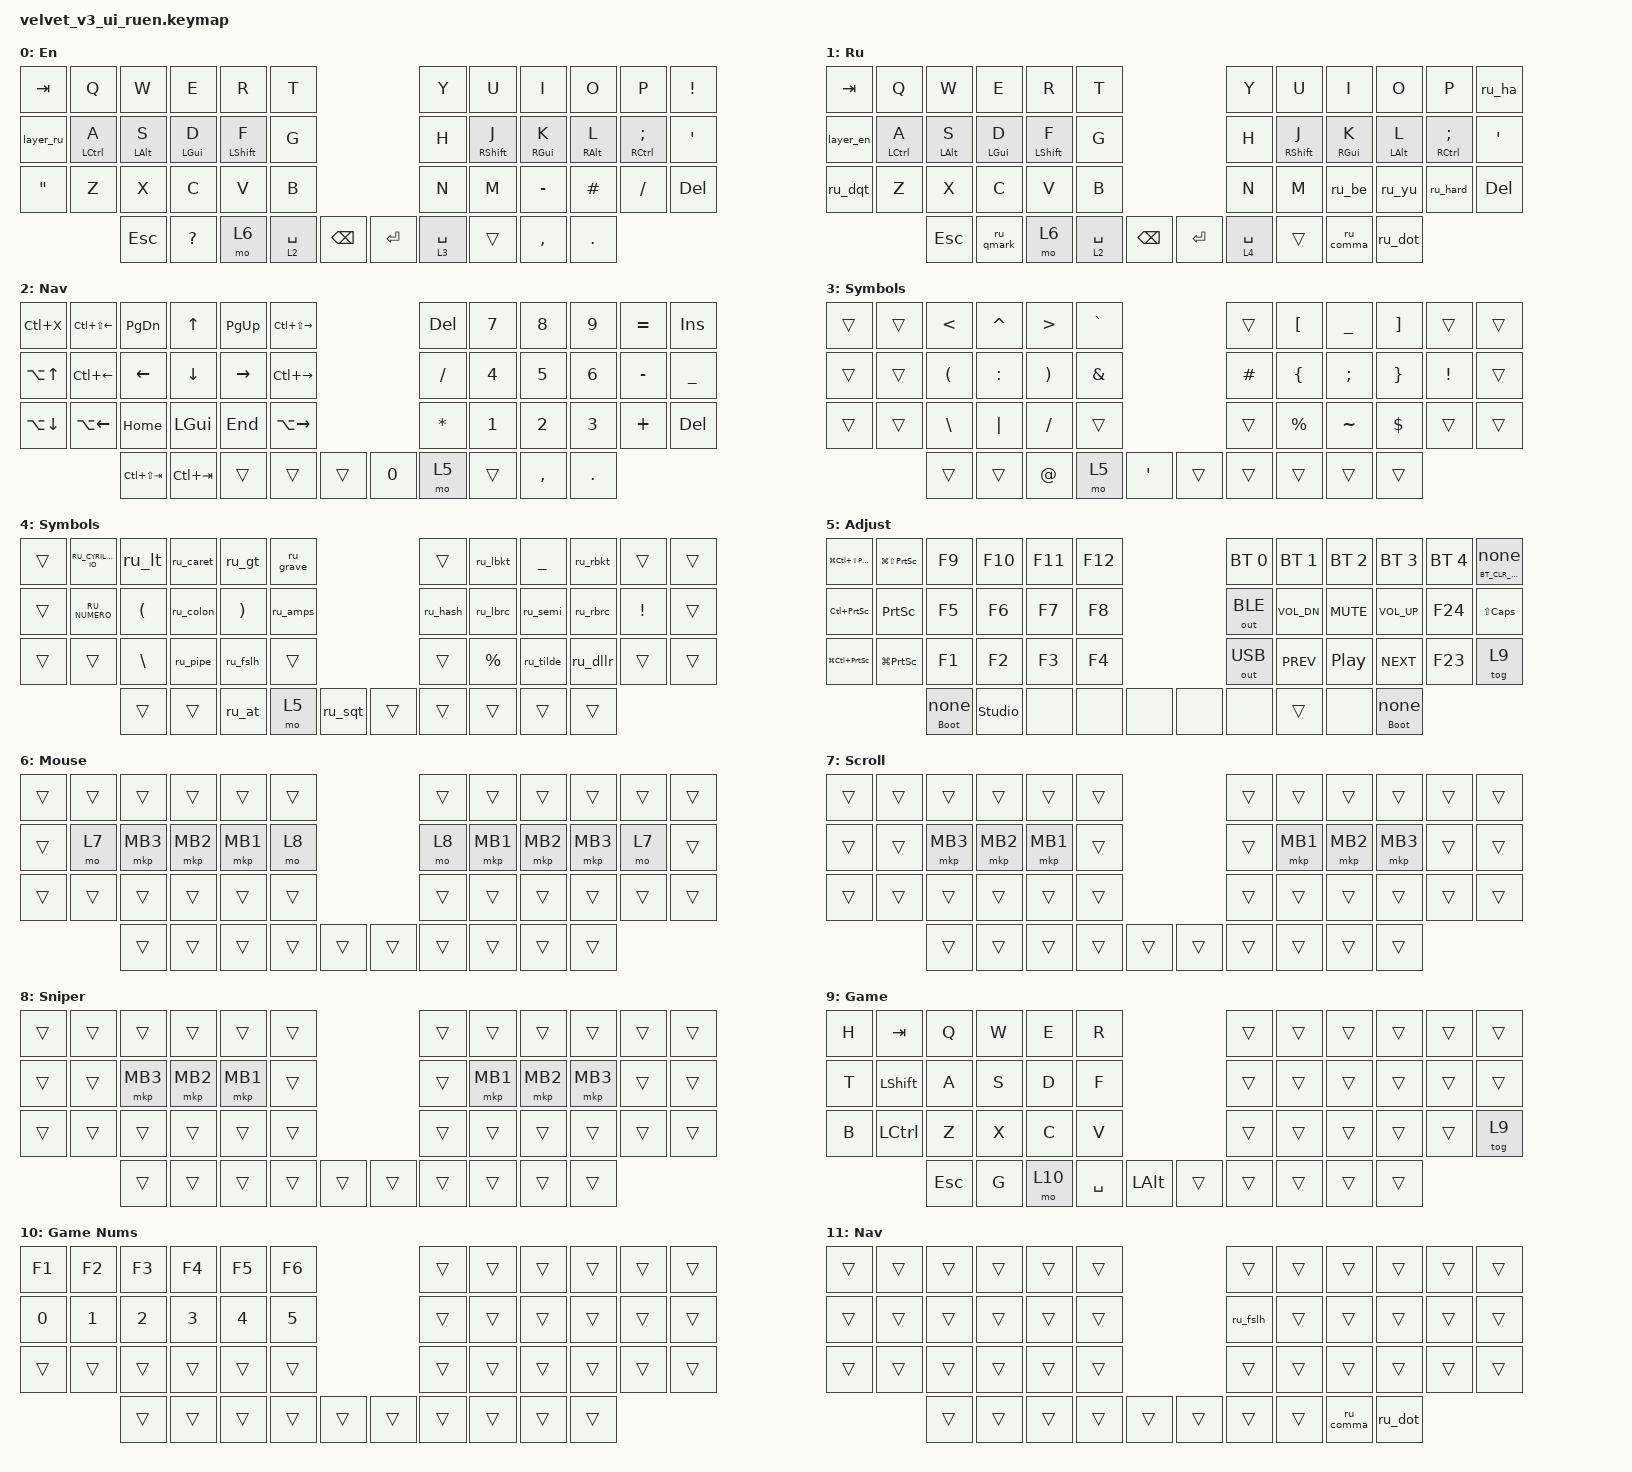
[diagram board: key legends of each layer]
#include "keys_ru.h"
#include <dt-bindings/zmk/input_transform.h>
#include <input/processors.dtsi>
#include <scroll-snap.dtsi>
#include <zephyr/dt-bindings/input/input-event-codes.h>
#include <behaviors.dtsi>
#include <dt-bindings/zmk/bt.h>
#include <dt-bindings/zmk/keys.h>
#include <dt-bindings/zmk/outputs.h>
#include <dt-bindings/zmk/pointing.h>

/ {
    behaviors {




        // Home-row mods: non-positional balanced. A mod becomes a hold as
        // soon as any other key is pressed and released while it is held,
        // so one-hand hotkeys (Super+S, Ctrl+C) work instantly. A plain
        // roll (first key released first) stays a tap; a misfire is only
        // possible on a nested roll. Positional HRM was tried and dropped:
        // same-hand hotkeys needed the mod held past tapping-term.
        hrm: hrm {
            compatible = "zmk,behavior-hold-tap";
            bindings = <&kp>, <&kp>;

            #binding-cells = <2>;
            tapping-term-ms = <200>;
            quick-tap-ms = <175>;
            flavor = "balanced";
        };

        // Must be held for a second: protects destructive keys on adj.
        hold_bt: hold_bt {
            compatible = "zmk,behavior-hold-tap";
            bindings = <&bt>, <&none>;

            #binding-cells = <2>;
            tapping-term-ms = <1000>;
            flavor = "tap-preferred";
        };

        hold_boot: hold_boot {
            compatible = "zmk,behavior-hold-tap";
            bindings = <&bootloader>, <&none>;

            #binding-cells = <2>;
            tapping-term-ms = <1000>;
            flavor = "tap-preferred";
        };

        // Space layer-taps. No quick-tap-ms: with it, pressing the same space
        // key again soon after tapping it is forced to a tap, so "type a
        // space, then hold it for nav" sent space + base-layer letters.
        mok: mok {
            compatible = "zmk,behavior-hold-tap";
            bindings = <&mo>, <&kp>;

            #binding-cells = <2>;
            tapping-term-ms = <200>;
            flavor = "balanced";
            require-prior-idle-ms = <0>;
        };

        // sym_ru symbols: plain tap types the symbol in the RU OS layout, but
        // with Ctrl/Alt/GUI held send the same keycode as sym_en so hotkeys match.
        ru_fslh: ru_fslh {
            compatible = "zmk,behavior-mod-morph";
            bindings = <&kp RU_FSLH>, <&kp FSLH>;

            #binding-cells = <0>;
            mods = <(MOD_LCTL|MOD_LALT|MOD_LGUI|MOD_RCTL|MOD_RALT|MOD_RGUI)>;
            keep-mods = <(MOD_LCTL|MOD_LALT|MOD_LGUI|MOD_RCTL|MOD_RALT|MOD_RGUI)>;
        };

        ru_colon: ru_colon {
            compatible = "zmk,behavior-mod-morph";
            bindings = <&kp RU_COLON>, <&kp COLON>;

            #binding-cells = <0>;
            mods = <(MOD_LCTL|MOD_LALT|MOD_LGUI|MOD_RCTL|MOD_RALT|MOD_RGUI)>;
            keep-mods = <(MOD_LCTL|MOD_LALT|MOD_LGUI|MOD_RCTL|MOD_RALT|MOD_RGUI)>;
        };

        ru_semi: ru_semi {
            compatible = "zmk,behavior-mod-morph";
            bindings = <&kp RU_SEMI>, <&kp SEMI>;

            #binding-cells = <0>;
            mods = <(MOD_LCTL|MOD_LALT|MOD_LGUI|MOD_RCTL|MOD_RALT|MOD_RGUI)>;
            keep-mods = <(MOD_LCTL|MOD_LALT|MOD_LGUI|MOD_RCTL|MOD_RALT|MOD_RGUI)>;
        };

        // Symbols missing from the plain RU layout. The OS uses ru(typo)
        // (Hyprland kb_variant ",typo"), which has them on AltGr (right Alt):
        // a plain tap sends RA(key) / RA(LS(key)). With Ctrl/Alt/GUI held the
        // same keycode as sym_en is sent instead, so hotkeys match (Hyprland
        // matches binds on the first, us, layout).
        ru_lt: ru_lt {
            compatible = "zmk,behavior-mod-morph";
            bindings = <&kp RA(N9)>, <&kp LT>;

            #binding-cells = <0>;
            mods = <(MOD_LCTL|MOD_LALT|MOD_LGUI|MOD_RCTL|MOD_RALT|MOD_RGUI)>;
            keep-mods = <(MOD_LCTL|MOD_LALT|MOD_LGUI|MOD_RCTL|MOD_RALT|MOD_RGUI)>;
        };

        ru_gt: ru_gt {
            compatible = "zmk,behavior-mod-morph";
            bindings = <&kp RA(N0)>, <&kp GT>;

            #binding-cells = <0>;
            mods = <(MOD_LCTL|MOD_LALT|MOD_LGUI|MOD_RCTL|MOD_RALT|MOD_RGUI)>;
            keep-mods = <(MOD_LCTL|MOD_LALT|MOD_LGUI|MOD_RCTL|MOD_RALT|MOD_RGUI)>;
        };

        ru_caret: ru_caret {
            compatible = "zmk,behavior-mod-morph";
            bindings = <&kp RA(N6)>, <&kp CARET>;

            #binding-cells = <0>;
            mods = <(MOD_LCTL|MOD_LALT|MOD_LGUI|MOD_RCTL|MOD_RALT|MOD_RGUI)>;
            keep-mods = <(MOD_LCTL|MOD_LALT|MOD_LGUI|MOD_RCTL|MOD_RALT|MOD_RGUI)>;
        };

        ru_grave: ru_grave {
            compatible = "zmk,behavior-mod-morph";
            bindings = <&kp RA(GRAVE)>, <&kp GRAVE>;

            #binding-cells = <0>;
            mods = <(MOD_LCTL|MOD_LALT|MOD_LGUI|MOD_RCTL|MOD_RALT|MOD_RGUI)>;
            keep-mods = <(MOD_LCTL|MOD_LALT|MOD_LGUI|MOD_RCTL|MOD_RALT|MOD_RGUI)>;
        };

        ru_tilde: ru_tilde {
            compatible = "zmk,behavior-mod-morph";
            bindings = <&kp RA(LS(GRAVE))>, <&kp TILDE>;

            #binding-cells = <0>;
            mods = <(MOD_LCTL|MOD_LALT|MOD_LGUI|MOD_RCTL|MOD_RALT|MOD_RGUI)>;
            keep-mods = <(MOD_LCTL|MOD_LALT|MOD_LGUI|MOD_RCTL|MOD_RALT|MOD_RGUI)>;
        };

        ru_lbkt: ru_lbkt {
            compatible = "zmk,behavior-mod-morph";
            bindings = <&kp RA(LBKT)>, <&kp LBKT>;

            #binding-cells = <0>;
            mods = <(MOD_LCTL|MOD_LALT|MOD_LGUI|MOD_RCTL|MOD_RALT|MOD_RGUI)>;
            keep-mods = <(MOD_LCTL|MOD_LALT|MOD_LGUI|MOD_RCTL|MOD_RALT|MOD_RGUI)>;
        };

        ru_rbkt: ru_rbkt {
            compatible = "zmk,behavior-mod-morph";
            bindings = <&kp RA(RBKT)>, <&kp RBKT>;

            #binding-cells = <0>;
            mods = <(MOD_LCTL|MOD_LALT|MOD_LGUI|MOD_RCTL|MOD_RALT|MOD_RGUI)>;
            keep-mods = <(MOD_LCTL|MOD_LALT|MOD_LGUI|MOD_RCTL|MOD_RALT|MOD_RGUI)>;
        };

        ru_lbrc: ru_lbrc {
            compatible = "zmk,behavior-mod-morph";
            bindings = <&kp RA(LS(LBKT))>, <&kp LBRC>;

            #binding-cells = <0>;
            mods = <(MOD_LCTL|MOD_LALT|MOD_LGUI|MOD_RCTL|MOD_RALT|MOD_RGUI)>;
            keep-mods = <(MOD_LCTL|MOD_LALT|MOD_LGUI|MOD_RCTL|MOD_RALT|MOD_RGUI)>;
        };

        ru_rbrc: ru_rbrc {
            compatible = "zmk,behavior-mod-morph";
            bindings = <&kp RA(LS(RBKT))>, <&kp RBRC>;

            #binding-cells = <0>;
            mods = <(MOD_LCTL|MOD_LALT|MOD_LGUI|MOD_RCTL|MOD_RALT|MOD_RGUI)>;
            keep-mods = <(MOD_LCTL|MOD_LALT|MOD_LGUI|MOD_RCTL|MOD_RALT|MOD_RGUI)>;
        };

        ru_amps: ru_amps {
            compatible = "zmk,behavior-mod-morph";
            bindings = <&kp RA(N7)>, <&kp AMPS>;

            #binding-cells = <0>;
            mods = <(MOD_LCTL|MOD_LALT|MOD_LGUI|MOD_RCTL|MOD_RALT|MOD_RGUI)>;
            keep-mods = <(MOD_LCTL|MOD_LALT|MOD_LGUI|MOD_RCTL|MOD_RALT|MOD_RGUI)>;
        };

        ru_hash: ru_hash {
            compatible = "zmk,behavior-mod-morph";
            bindings = <&kp RA(N3)>, <&kp HASH>;

            #binding-cells = <0>;
            mods = <(MOD_LCTL|MOD_LALT|MOD_LGUI|MOD_RCTL|MOD_RALT|MOD_RGUI)>;
            keep-mods = <(MOD_LCTL|MOD_LALT|MOD_LGUI|MOD_RCTL|MOD_RALT|MOD_RGUI)>;
        };

        ru_pipe: ru_pipe {
            compatible = "zmk,behavior-mod-morph";
            bindings = <&kp RA(BSLH)>, <&kp PIPE>;

            #binding-cells = <0>;
            mods = <(MOD_LCTL|MOD_LALT|MOD_LGUI|MOD_RCTL|MOD_RALT|MOD_RGUI)>;
            keep-mods = <(MOD_LCTL|MOD_LALT|MOD_LGUI|MOD_RCTL|MOD_RALT|MOD_RGUI)>;
        };

        ru_dllr: ru_dllr {
            compatible = "zmk,behavior-mod-morph";
            bindings = <&kp RA(N4)>, <&kp DLLR>;

            #binding-cells = <0>;
            mods = <(MOD_LCTL|MOD_LALT|MOD_LGUI|MOD_RCTL|MOD_RALT|MOD_RGUI)>;
            keep-mods = <(MOD_LCTL|MOD_LALT|MOD_LGUI|MOD_RCTL|MOD_RALT|MOD_RGUI)>;
        };

        ru_at: ru_at {
            compatible = "zmk,behavior-mod-morph";
            bindings = <&kp RA(N2)>, <&kp AT>;

            #binding-cells = <0>;
            mods = <(MOD_LCTL|MOD_LALT|MOD_LGUI|MOD_RCTL|MOD_RALT|MOD_RGUI)>;
            keep-mods = <(MOD_LCTL|MOD_LALT|MOD_LGUI|MOD_RCTL|MOD_RALT|MOD_RGUI)>;
        };

        ru_sqt: ru_sqt {
            compatible = "zmk,behavior-mod-morph";
            bindings = <&kp RA(LS(N2))>, <&kp SQT>;

            #binding-cells = <0>;
            mods = <(MOD_LCTL|MOD_LALT|MOD_LGUI|MOD_RCTL|MOD_RALT|MOD_RGUI)>;
            keep-mods = <(MOD_LCTL|MOD_LALT|MOD_LGUI|MOD_RCTL|MOD_RALT|MOD_RGUI)>;
        };

        // ru layer punctuation (and the nav_ru overlay): typed natively in the
        // RU OS layout, same keycodes as the en layer when Ctrl/Alt/GUI is held.
        ru_qmark: ru_qmark {
            compatible = "zmk,behavior-mod-morph";
            bindings = <&kp RU_QMARK>, <&kp QUESTION>;

            #binding-cells = <0>;
            mods = <(MOD_LCTL|MOD_LALT|MOD_LGUI|MOD_RCTL|MOD_RALT|MOD_RGUI)>;
            keep-mods = <(MOD_LCTL|MOD_LALT|MOD_LGUI|MOD_RCTL|MOD_RALT|MOD_RGUI)>;
        };

        ru_dqt: ru_dqt {
            compatible = "zmk,behavior-mod-morph";
            bindings = <&kp RU_DQT>, <&kp DQT>;

            #binding-cells = <0>;
            mods = <(MOD_LCTL|MOD_LALT|MOD_LGUI|MOD_RCTL|MOD_RALT|MOD_RGUI)>;
            keep-mods = <(MOD_LCTL|MOD_LALT|MOD_LGUI|MOD_RCTL|MOD_RALT|MOD_RGUI)>;
        };

        ru_comma: ru_comma {
            compatible = "zmk,behavior-mod-morph";
            bindings = <&kp RU_COMMA>, <&kp COMMA>;

            #binding-cells = <0>;
            mods = <(MOD_LCTL|MOD_LALT|MOD_LGUI|MOD_RCTL|MOD_RALT|MOD_RGUI)>;
            keep-mods = <(MOD_LCTL|MOD_LALT|MOD_LGUI|MOD_RCTL|MOD_RALT|MOD_RGUI)>;
        };

        ru_dot: ru_dot {
            compatible = "zmk,behavior-mod-morph";
            bindings = <&kp RU_DOT>, <&kp DOT>;

            #binding-cells = <0>;
            mods = <(MOD_LCTL|MOD_LALT|MOD_LGUI|MOD_RCTL|MOD_RALT|MOD_RGUI)>;
            keep-mods = <(MOD_LCTL|MOD_LALT|MOD_LGUI|MOD_RCTL|MOD_RALT|MOD_RGUI)>;
        };

        // ru letters on the positions where the en layer has punctuation
        // (х б ю ъ over ! - # /): the letter on a plain tap, the en layer
        // keycode with Ctrl/Alt/GUI held, so hotkeys stay on the same keys in
        // both layers (Ctrl+-, Ctrl+/, Super+-).
        ru_ha: ru_ha {
            compatible = "zmk,behavior-mod-morph";
            bindings = <&kp RU_CYRILLIC_HA>, <&kp EXCLAMATION>;

            #binding-cells = <0>;
            mods = <(MOD_LCTL|MOD_LALT|MOD_LGUI|MOD_RCTL|MOD_RALT|MOD_RGUI)>;
            keep-mods = <(MOD_LCTL|MOD_LALT|MOD_LGUI|MOD_RCTL|MOD_RALT|MOD_RGUI)>;
        };

        ru_be: ru_be {
            compatible = "zmk,behavior-mod-morph";
            bindings = <&kp RU_CYRILLIC_BE>, <&kp MINUS>;

            #binding-cells = <0>;
            mods = <(MOD_LCTL|MOD_LALT|MOD_LGUI|MOD_RCTL|MOD_RALT|MOD_RGUI)>;
            keep-mods = <(MOD_LCTL|MOD_LALT|MOD_LGUI|MOD_RCTL|MOD_RALT|MOD_RGUI)>;
        };

        ru_yu: ru_yu {
            compatible = "zmk,behavior-mod-morph";
            bindings = <&kp RU_CYRILLIC_YU>, <&kp HASH>;

            #binding-cells = <0>;
            mods = <(MOD_LCTL|MOD_LALT|MOD_LGUI|MOD_RCTL|MOD_RALT|MOD_RGUI)>;
            keep-mods = <(MOD_LCTL|MOD_LALT|MOD_LGUI|MOD_RCTL|MOD_RALT|MOD_RGUI)>;
        };

        ru_hard: ru_hard {
            compatible = "zmk,behavior-mod-morph";
            bindings = <&kp RU_CYRILLIC_HARD_SIGN>, <&kp SLASH>;

            #binding-cells = <0>;
            mods = <(MOD_LCTL|MOD_LALT|MOD_LGUI|MOD_RCTL|MOD_RALT|MOD_RGUI)>;
            keep-mods = <(MOD_LCTL|MOD_LALT|MOD_LGUI|MOD_RCTL|MOD_RALT|MOD_RGUI)>;
        };





    };


    macros {
        // Layer + OS layout switch in one key. F13 / F14 go out first: the OS
        // keymap maps them to "first / second layout" right in xkb
        // (custom:f13_f14_select in the nix repo), so the layout changes in the
        // key stream itself and the next key is always typed in the new one.
        // The layer changes while F13 / F14 is held, so both switch at the
        // same moment. Alt+Shift+1 / Alt+Shift+2 follow: Hyprland binds that
        // run `hyprctl switchxkblayout all` (~12 ms later, an external
        // process) to bring the other keyboards to the same layout.
        layer_en: layer_en {
            compatible = "zmk,behavior-macro";
            #binding-cells = <0>;
            bindings =
                <&macro_press &kp F13>,
                <&macro_tap &to 0>,
                <&macro_release &kp F13>,
                <&macro_tap &kp LS(LA(NUMBER_1))>;
            wait-ms = <0>;
            tap-ms = <30>;
        };

        layer_ru: layer_ru {
            compatible = "zmk,behavior-macro";
            #binding-cells = <0>;
            bindings =
                <&macro_press &kp F14>,
                <&macro_tap &to 1>,
                <&macro_release &kp F14>,
                <&macro_tap &kp LS(LA(NUMBER_2))>;
            wait-ms = <0>;
            tap-ms = <30>;
        };
    };

    keymap {
        compatible = "zmk,keymap";

        en {
            bindings = <
&kp TAB    &kp Q         &kp W        &kp E         &kp R              &kp T                                      &kp Y         &kp U               &kp I        &kp O        &kp P            &kp EXCLAMATION
&layer_ru  &hrm LCTRL A  &hrm LALT S  &hrm LGUI D   &hrm LEFT_SHIFT F  &kp G                                      &kp H         &hrm RIGHT_SHIFT J  &hrm RGUI K  &hrm RALT L  &hrm RCTRL SEMI  &kp SQT
&kp DQT    &kp Z         &kp X        &kp C         &kp V              &kp B                                      &kp N         &kp M               &kp MINUS    &kp HASH     &kp SLASH        &kp DELETE
                         &kp ESC      &kp QUESTION  &mo 6              &mok 2 SPACE  &kp BACKSPACE    &kp RETURN  &mok 3 SPACE  &trans              &kp COMMA    &kp DOT
            >;

            display-name = "En";
        };

        ru {
            display-name = "Ru";
            bindings = <
&kp TAB           &kp Q         &kp W            &kp E             &kp R              &kp T                                      &kp Y         &kp U               &kp I             &kp O             &kp P              &ru_ha
&layer_en         &hrm LCTRL A  &hrm LEFT_ALT S  &hrm LEFT_GUI D   &hrm LEFT_SHIFT F  &kp G                                      &kp H         &hrm RIGHT_SHIFT J  &hrm RIGHT_GUI K  &hrm LEFT_ALT L   &hrm RCTRL SEMI    &kp SQT
&ru_dqt           &kp Z         &kp X            &kp C             &kp V              &kp B                                      &kp N         &kp M               &ru_be            &ru_yu            &ru_hard           &kp DELETE
                                &kp ESC          &ru_qmark         &mo 6              &mok 2 SPACE  &kp BACKSPACE    &kp RETURN  &mok 4 SPACE  &trans              &ru_comma         &ru_dot
            >;
        };

        nav {
            bindings = <
&kp LC(X)           &kp LC(LS(LEFT_ARROW))  &kp PAGE_DOWN    &kp UP          &kp PAGE_UP      &kp LC(LS(RIGHT_ARROW))                    &kp DELETE       &kp N7         &kp N8     &kp N9   &kp EQUAL     &kp INSERT
&kp LA(UP_ARROW)    &kp LC(LEFT_ARROW)      &kp LEFT_ARROW   &kp DOWN_ARROW  &kp RIGHT_ARROW  &kp LC(RIGHT_ARROW)                        &kp FSLH         &kp N4         &kp N5     &kp N6   &kp MINUS     &kp UNDERSCORE
&kp LA(DOWN_ARROW)  &kp LA(LEFT_ARROW)      &kp HOME         &kp LGUI        &kp END          &kp LA(RIGHT_ARROW)                        &kp STAR         &kp N1         &kp N2     &kp N3   &kp PLUS      &kp DELETE
                                            &kp LC(LS(TAB))  &kp LC(TAB)     &trans           &trans                   &trans    &kp N0  &mo 5            &trans         &kp COMMA  &kp DOT
            >;

            display-name = "Nav";
        };

        sym_en {
            bindings = <
&trans  &trans  &kp LT         &kp CARET  &kp GT    &kp GRAVE                     &trans    &kp LBKT     &kp UNDER  &kp RBKT  &trans    &trans
&trans  &trans  &kp LPAR       &kp COLON  &kp RPAR  &kp AMPS                      &kp HASH  &kp LBRC     &kp SEMI   &kp RBRC  &kp EXCL  &trans
&trans  &trans  &kp BACKSLASH  &kp PIPE   &kp FSLH  &trans                        &trans    &kp PERCENT  &kp TILDE  &kp DLLR  &trans    &trans
                &trans         &trans     &kp AT    &mo 5      &kp SQT    &trans  &trans    &trans       &trans     &trans
            >;

            display-name = "Symbols";
        };

        sym_ru {
            display-name = "Symbols";
            bindings = <
&trans  &kp RU_CYRILLIC_IO  &ru_lt         &ru_caret     &ru_gt         &ru_grave                     &trans    &ru_lbkt     &kp UNDER    &ru_rbkt  &trans    &trans
&trans  &kp RU_NUMERO       &kp LPAR       &ru_colon     &kp RPAR       &ru_amps                      &ru_hash  &ru_lbrc     &ru_semi     &ru_rbrc  &kp EXCL  &trans
&trans  &trans              &kp BACKSLASH  &ru_pipe      &ru_fslh       &trans                        &trans    &kp PERCENT  &ru_tilde    &ru_dllr  &trans    &trans
                            &trans         &trans        &ru_at         &mo 5      &ru_sqt    &trans  &trans    &trans       &trans       &trans
            >;
        };

        // F24 / F23 (right half, next to volume): brightness up / down of the
        // qube dongle screen, which listens for these keycodes. The host has
        // no binds on them.
        adj {
            bindings = <
&kp LG(LC(LS(PRINTSCREEN)))  &kp LG(LS(PRINTSCREEN))  &kp F9  &kp F10  &kp F11  &kp F12                  &bt BT_SEL 0  &bt BT_SEL 1  &bt BT_SEL 2      &bt BT_SEL 3  &bt BT_SEL 4          &hold_bt BT_CLR_CMD 0
&kp LC(PRINTSCREEN)          &kp PRINTSCREEN          &kp F5  &kp F6   &kp F7   &kp F8                   &out OUT_BLE  &kp C_VOL_DN  &kp C_MUTE        &kp C_VOL_UP  &kp F24               &kp LS(CAPSLOCK)
&kp LG(LC(PRINTSCREEN))      &kp LG(PRINTSCREEN)      &kp F1  &kp F2   &kp F3   &kp F4                   &out OUT_USB  &kp C_PREV    &kp C_PLAY_PAUSE  &kp C_NEXT    &kp F23               &tog 9
                                                      &hold_boot 0 0  &studio_unlock  &none  &none  &none    &none  &none  &trans  &none  &hold_boot 0 0
            >;

            display-name = "Adjust";
        };

        mouse {
            bindings = <
&trans  &trans  &trans    &trans    &trans    &trans                    &trans  &trans    &trans    &trans    &trans  &trans
&trans  &mo 7   &mkp MB3  &mkp MB2  &mkp MB1  &mo 8                     &mo 8   &mkp MB1  &mkp MB2  &mkp MB3  &mo 7   &trans
&trans  &trans  &trans    &trans    &trans    &trans                    &trans  &trans    &trans    &trans    &trans  &trans
                &trans    &trans    &trans    &trans  &trans    &trans  &trans  &trans    &trans    &trans
            >;

            display-name = "Mouse";
        };

        scroll {
            bindings = <
&trans  &trans  &trans    &trans    &trans    &trans                    &trans  &trans    &trans    &trans    &trans  &trans
&trans  &trans  &mkp MB3  &mkp MB2  &mkp MB1  &trans                    &trans  &mkp MB1  &mkp MB2  &mkp MB3  &trans  &trans
&trans  &trans  &trans    &trans    &trans    &trans                    &trans  &trans    &trans    &trans    &trans  &trans
                &trans    &trans    &trans    &trans  &trans    &trans  &trans  &trans    &trans    &trans
            >;

            display-name = "Scroll";
        };

        sniper {
            bindings = <
&trans  &trans  &trans    &trans    &trans    &trans                    &trans  &trans    &trans    &trans    &trans  &trans
&trans  &trans  &mkp MB3  &mkp MB2  &mkp MB1  &trans                    &trans  &mkp MB1  &mkp MB2  &mkp MB3  &trans  &trans
&trans  &trans  &trans    &trans    &trans    &trans                    &trans  &trans    &trans    &trans    &trans  &trans
                &trans    &trans    &trans    &trans  &trans    &trans  &trans  &trans    &trans    &trans
            >;

            display-name = "Sniper";
        };

        game {
            bindings = <
&kp H  &kp TAB         &kp Q    &kp W  &kp E   &kp R                              &trans  &trans  &trans  &trans  &trans  &trans
&kp T  &kp LEFT_SHIFT  &kp A    &kp S  &kp D   &kp F                              &trans  &trans  &trans  &trans  &trans  &trans
&kp B  &kp LCTRL       &kp Z    &kp X  &kp C   &kp V                              &trans  &trans  &trans  &trans  &trans  &tog 9
                       &kp ESC  &kp G  &mo 10  &kp SPACE  &kp LEFT_ALT    &trans  &trans  &trans  &trans  &trans
            >;

            display-name = "Game";
        };

        gamenums {
            bindings = <
&kp F1  &kp F2  &kp F3  &kp F4  &kp F5  &kp F6                    &trans  &trans  &trans  &trans  &trans  &trans
&kp N0  &kp N1  &kp N2  &kp N3  &kp N4  &kp N5                    &trans  &trans  &trans  &trans  &trans  &trans
&trans  &trans  &trans  &trans  &trans  &trans                    &trans  &trans  &trans  &trans  &trans  &trans
                &trans  &trans  &trans  &trans  &trans    &trans  &trans  &trans  &trans  &trans
            >;

            display-name = "Game Nums";
        };

        // Overlay on top of nav while the ru layer is active (see
        // conditional_layers): `/`, `,` and `.` typed natively in the RU OS layout.
        nav_ru {
            bindings = <
&trans  &trans  &trans  &trans  &trans  &trans                    &trans    &trans  &trans  &trans     &trans     &trans
&trans  &trans  &trans  &trans  &trans  &trans                    &ru_fslh  &trans  &trans  &trans     &trans     &trans
&trans  &trans  &trans  &trans  &trans  &trans                    &trans    &trans  &trans  &trans     &trans     &trans
                &trans  &trans  &trans  &trans  &trans    &trans  &trans    &trans  &ru_comma  &ru_dot
            >;

            display-name = "Nav";
        };
    };

    conditional_layers {
        compatible = "zmk,conditional-layers";

        nav_ru {
            if-layers = <1 2>;
            then-layer = <11>;
        };
    };
};

// PMW3610 accepts 200..3200 CPI in steps of 200; anything else fails sensor init.
// CPI is applied by the right half firmware (the sensor lives there); the
// scalers below are applied by the central (right half, or qube dongle).
&trackball { cpi = <1000>; };

&trackball_listener {
    input-processors = <&zip_xy_scaler 9 10>;

    // With CONFIG_ZMK_POINTING_SMOOTH_SCROLLING the host gets 16 scroll units
    // per wheel notch, so 1/6 here is one notch per 96 sensor counts.
    // zip_scroll_snap locks the scroll to the dominant axis (no sideways
    // drift while scrolling vertically).
    scroller {
        layers = <7>;
        input-processors =
            <&zip_xy_transform INPUT_TRANSFORM_Y_INVERT>,
            <&zip_xy_scaler 1 6>,
            <&zip_xy_to_scroll_mapper>,
            <&zip_scroll_snap>;
    };

    sniper {
        layers = <8>;
        input-processors = <&zip_xy_scaler 1 4>;
    };
};
